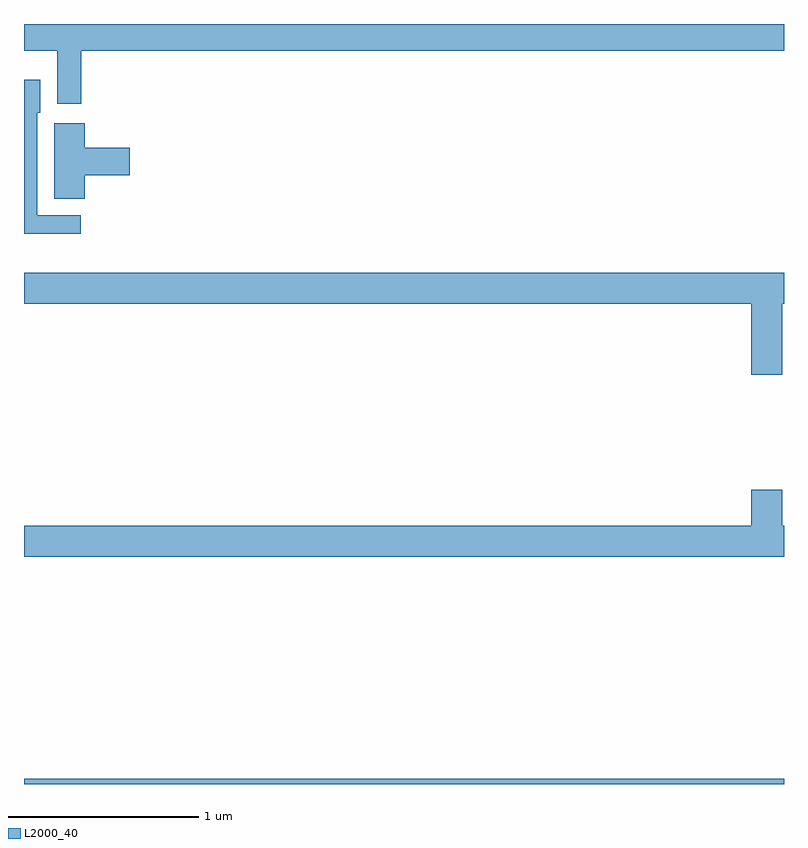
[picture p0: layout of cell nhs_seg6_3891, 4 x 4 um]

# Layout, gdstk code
import gdstk
lib = gdstk.Library(unit=1e-6, precision=1e-09)
def R(c, l, rs):  # rectangles x0, y0, x1, y1
    for r in rs: c.add(gdstk.rectangle(r[:2], r[2:], *l))
def P(c, l, *ps):  # polygons
    for p in ps: c.add(gdstk.Polygon(p, *l))
L2000_40 = (2000, 40)

nhs_seg6_3891 = lib.new_cell('nhs_seg6_3891')
R(nhs_seg6_3891, L2000_40, [(341,919.5,345,919.528)])
P(nhs_seg6_3891, L2000_40, [(341.3,923.36),(345,923.36),(345,923.5),(341,923.5),(341,923.36),(341.174,923.36),(341.174,923.079),(341.3,923.079)],
  [(341.299,922.494),(341.07,922.494),(341.07,923.034),(341.086,923.034),(341.086,923.206),(341,923.206),(341,922.397),(341.299,922.397)],
  [(341.321,922.703),(341.557,922.703),(341.557,922.85),(341.321,922.85),(341.321,922.978),(341.159,922.978),(341.159,922.579),(341.321,922.579)],
  [(344.992,922.028),(345,922.028),(345,922.192),(341,922.192),(341,922.028),(344.828,922.028),(344.828,921.654),(344.992,921.654)],
  [(345,920.86),(344.992,920.86),(344.992,921.049),(344.828,921.049),(344.828,920.86),(341,920.86),(341,920.696),(345,920.696)])

lib.write_gds('nhs_seg6_3891.gds')
